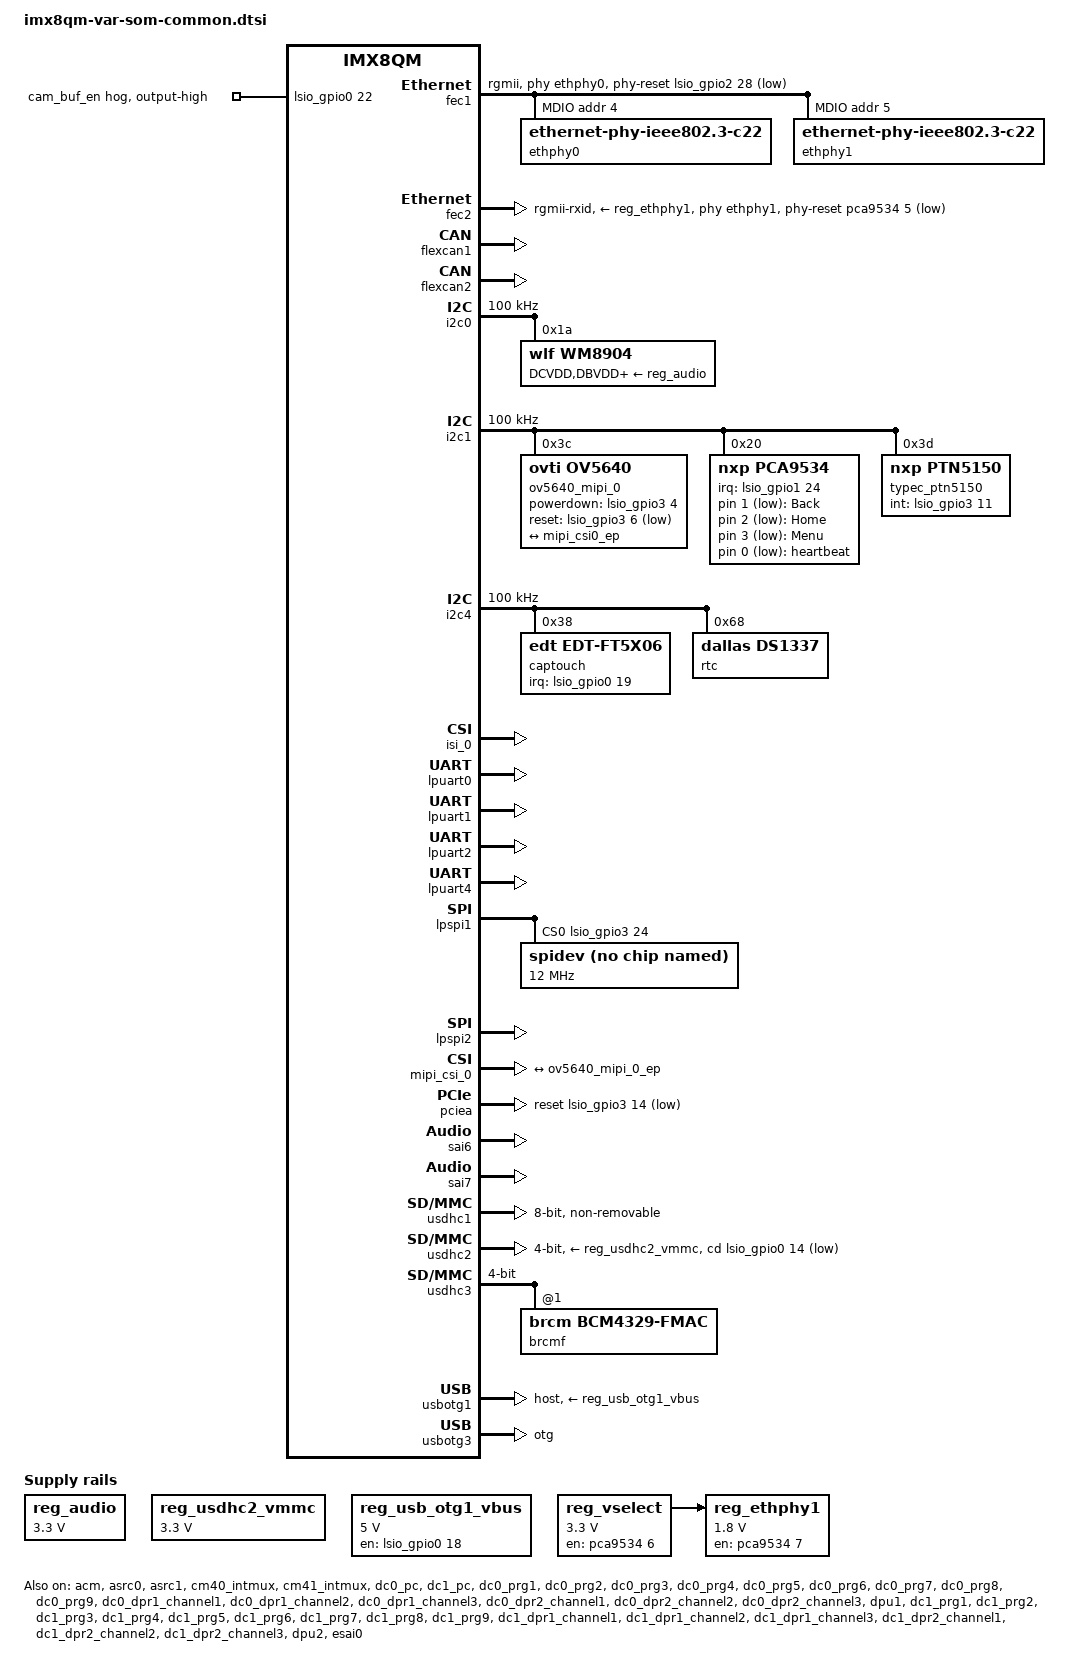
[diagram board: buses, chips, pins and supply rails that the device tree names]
/*
 * Copyright (C) 2016 Freescale Semiconductor, Inc.
 * Copyright 2017 NXP
 * Copyright 2019 Variscite Ltd.
 *
 * This program is free software; you can redistribute it and/or
 * modify it under the terms of the GNU General Public License
 * as published by the Free Software Foundation; either version 2
 * of the License, or (at your option) any later version.
 *
 * This program is distributed in the hope that it will be useful,
 * but WITHOUT ANY WARRANTY; without even the implied warranty of
 * MERCHANTABILITY or FITNESS FOR A PARTICULAR PURPOSE.  See the
 * GNU General Public License for more details.
 */

#include <dt-bindings/usb/pd.h>

/ {
	compatible = "fsl,imx8qm-var-som", "fsl,imx8qm";

	chosen {
		stdout-path = &lpuart0;
	};

	aliases {
		gpio0 = &lsio_gpio0;
		gpio1 = &lsio_gpio1;
		gpio2 = &lsio_gpio2;
		gpio3 = &lsio_gpio3;
		gpio4 = &lsio_gpio4;
		gpio5 = &lsio_gpio5;
		gpio6 = &lsio_gpio6;
		gpio7 = &lsio_gpio7;
		gpio8 = &pca9534;
		i2c0  = &i2c0;
		i2c1  = &i2c1;
		i2c2  = &i2c2;
		i2c3  = &i2c3;
		i2c4  = &i2c4;
	};

        gpio_keys {
                compatible = "gpio-keys";

                back {
			label = "Back";
			gpios = <&pca9534 1 GPIO_ACTIVE_LOW>;
			linux,code = <KEY_BACK>;
                };

		home {
			label = "Home";
			gpios = <&pca9534 2 GPIO_ACTIVE_LOW>;
			linux,code = <KEY_HOME>;
		};

                menu {
			label = "Menu";
			gpios = <&pca9534 3 GPIO_ACTIVE_LOW>;
			linux,code = <KEY_MENU>;
                };
        };

        leds {
                compatible = "gpio-leds";
                status = "okay";

		heartbeat {
			label = "heartbeat";
			gpios = <&pca9534 0 GPIO_ACTIVE_LOW>;
			linux,default-trigger = "heartbeat";
		};
	};

	regulators: regulators {
		compatible = "simple-bus";
		#address-cells = <1>;
		#size-cells = <0>;

		reg_audio: audio {
			compatible = "regulator-fixed";
			regulator-name = "wm8904_supply";
			regulator-min-microvolt = <3300000>;
			regulator-max-microvolt = <3300000>;
			regulator-always-on;
		};

		reg_ethphy1: regulator-ethphy1 {
			compatible = "regulator-fixed";
			vin-supply = <&reg_vselect>;
			regulator-name = "reg_ethphy1";
			regulator-min-microvolt = <1800000>;
			regulator-max-microvolt = <1800000>;
			gpio = <&pca9534 7 GPIO_ACTIVE_HIGH>;
			enable-active-high;
			regulator-always-on;
		};

		reg_usdhc2_vmmc: usdhc2_vmmc {
			compatible = "regulator-fixed";
			regulator-name = "sw-3p3-sd1";
			regulator-min-microvolt = <3300000>;
			regulator-max-microvolt = <3300000>;
			regulator-always-on;
		};

		reg_usb_otg1_vbus: usb_otg1_vbus {
			compatible = "regulator-fixed";
			regulator-name = "usb_otg1_vbus";
			regulator-min-microvolt = <5000000>;
			regulator-max-microvolt = <5000000>;
			gpio = <&lsio_gpio0 18 GPIO_ACTIVE_HIGH>;
			enable-active-high;
		};

		reg_vselect: regulator-vselect {
			compatible = "regulator-fixed";
			regulator-name = "reg_vselect";
			regulator-min-microvolt = <3300000>;
			regulator-max-microvolt = <3300000>;
			regulator-always-on;
			gpio = <&pca9534 6 GPIO_ACTIVE_HIGH>;
			enable-active-high;
		};
	};

	reserved-memory {
		#address-cells = <2>;
		#size-cells = <2>;
		ranges;

		decoder_boot: decoder_boot@0x84000000 {
			no-map;
			reg = <0 0x84000000 0 0x2000000>;
		};

		decoder_rpc: decoder_rpc@0x92000000 {
			no-map;
			reg = <0 0x92000000 0 0x200000>;
		};

		dsp_reserved: dsp@0x92400000 {
			no-map;
			reg = <0 0x92400000 0 0x2000000>;
		};

		encoder_boot: encoder_boot@0x86000000 {
			no-map;
			reg = <0 0x86000000 0 0x400000>;
		};

		encoder_reserved: encoder_reserved@0x94400000 {
			no-map;
			reg = <0 0x94400000 0 0x800000>;
		};

		encoder_rpc: encoder_rpc@0x92200000 {
			no-map;
			reg = <0 0x92200000 0 0x200000>;
		};

		/* global autoconfigured region for contiguous allocations */
		linux,cma {
			compatible = "shared-dma-pool";
			reusable;
			size = <0 0x3c000000>;
			alloc-ranges = <0 0x96000000 0 0x3c000000>;
			linux,cma-default;
		};

		ts_boot: ts_boot@0x95000000 {
			no-map;
			reg = <0 0x95000000 0 0x400000>;
		};
	};

	sound-wm8904 {
		compatible = "fsl,imx-audio-wm8904";
		model = "imx-wm8904";
		audio-codec = <&wm8904>;
		audio-cpu = <&esai0>;
		audio-routing =
			"Headphone Jack", "HPOUTL",
			"Headphone Jack", "HPOUTR",
			"IN2L", "Line In Jack",
			"IN2R", "Line In Jack",
			"IN1L", "Mic Jack",
			"Playback", "CPU-Playback",
			"CPU-Capture", "Capture";
		status = "okay";
	};
};

&acm {
	status = "okay";
};

&asrc0 {
	assigned-clock-rates = <786432000>, <49152000>, <24576000>;
	fsl,asrc-rate  = <48000>;
	status = "okay";
};

&asrc1 {
	assigned-clock-rates = <786432000>, <49152000>, <24576000>;
	fsl,asrc-rate = <48000>;
	status = "okay";
};

&cm40_intmux {
	status = "okay";
};

&cm41_intmux {
	status = "okay";
};

&dc0_pc {
	status = "okay";
};

&dc1_pc {
	status = "okay";
};

&dc0_prg1 {
	status = "okay";
};

&dc0_prg2 {
	status = "okay";
};

&dc0_prg3 {
	status = "okay";
};

&dc0_prg4 {
	status = "okay";
};

&dc0_prg5 {
	status = "okay";
};

&dc0_prg6 {
	status = "okay";
};

&dc0_prg7 {
	status = "okay";
};

&dc0_prg8 {
	status = "okay";
};

&dc0_prg9 {
	status = "okay";
};

&dc0_dpr1_channel1 {
	status = "okay";
};

&dc0_dpr1_channel2 {
	status = "okay";
};

&dc0_dpr1_channel3 {
	status = "okay";
};

&dc0_dpr2_channel1 {
	status = "okay";
};

&dc0_dpr2_channel2 {
	status = "okay";
};

&dc0_dpr2_channel3 {
	status = "okay";
};

&dpu1 {
	status = "okay";
};

&dc1_prg1 {
	status = "okay";
};

&dc1_prg2 {
	status = "okay";
};

&dc1_prg3 {
	status = "okay";
};

&dc1_prg4 {
	status = "okay";
};

&dc1_prg5 {
	status = "okay";
};

&dc1_prg6 {
	status = "okay";
};

&dc1_prg7 {
	status = "okay";
};

&dc1_prg8 {
	status = "okay";
};

&dc1_prg9 {
	status = "okay";
};

&dc1_dpr1_channel1 {
	status = "okay";
};

&dc1_dpr1_channel2 {
	status = "okay";
};

&dc1_dpr1_channel3 {
	status = "okay";
};

&dc1_dpr2_channel1 {
	status = "okay";
};

&dc1_dpr2_channel2 {
	status = "okay";
};

&dc1_dpr2_channel3 {
	status = "okay";
};


&dpu2 {
	status = "okay";
};

&esai0 {
	pinctrl-names = "default";
	pinctrl-0 = <&pinctrl_esai0>;
	assigned-clocks = <&acm IMX_ADMA_ACM_ESAI0_MCLK_SEL>,
			<&clk IMX_SC_R_AUDIO_PLL_0 IMX_SC_PM_CLK_PLL>,
			<&clk IMX_SC_R_AUDIO_PLL_0 IMX_SC_PM_CLK_SLV_BUS>,
			<&clk IMX_SC_R_AUDIO_PLL_0 IMX_SC_PM_CLK_MST_BUS>,
			<&esai0_lpcg 0>;
	assigned-clock-parents = <&aud_pll_div0_lpcg 0>;
	assigned-clock-rates = <0>, <786432000>, <49152000>, <24576000>, <49152000>;
	status = "okay";
};

&fec1 {
	pinctrl-names = "default";
	pinctrl-0 = <&pinctrl_fec1>;
	fsl,magic-packet;
	phy-reset-gpios = <&lsio_gpio2 28 GPIO_ACTIVE_LOW>;
	phy-reset-duration = <10>;
	phy-mode = "rgmii";
	phy-handle = <&ethphy0>;
	status = "okay";

	mdio:mdio {
		#address-cells = <1>;
		#size-cells = <0>;

		ethphy0: ethernet-phy@4 {
			compatible = "ethernet-phy-ieee802.3-c22";
			reg = <4>;
			at803x,eee-disabled;
			at803x,vddio-1p8v;
		};

		ethphy1: ethernet-phy@5 {
			compatible = "ethernet-phy-ieee802.3-c22";
			reg = <5>;
			at803x,eee-disabled;
			at803x,vddio-1p8v;
		};
	};
};

&fec2 {
	pinctrl-names = "default";
	pinctrl-0 = <&pinctrl_fec2>;
	phy-mode = "rgmii-rxid";
	phy-handle = <&ethphy1>;
	fsl,magic-packet;
	phy-supply = <&reg_ethphy1>;
	phy-reset-gpios = <&pca9534 5 GPIO_ACTIVE_LOW>;
	phy-reset-duration = <10>;
	status = "okay";
};

&flexcan1 {
	pinctrl-names = "default";
	pinctrl-0 = <&pinctrl_flexcan1>;
	status = "okay";
};

&flexcan2 {
	pinctrl-names = "default";
	pinctrl-0 = <&pinctrl_flexcan2>;
	status = "okay";
};

&flexspi0 {
	status = "disabled";
};

&gpu_3d0 {
	status = "okay";
};

&gpu_3d1 {
	status = "okay";
};

&i2c0 {
	#address-cells = <1>;
	#size-cells = <0>;
	pinctrl-names = "default";
	pinctrl-0 = <&pinctrl_i2c0>;
	clock-frequency = <100000>;
	status = "okay";

	wm8904: codec@1a {
		compatible = "wlf,wm8904";
		reg = <0x1a>;
		clocks = <&mclkout0_lpcg 0>;
		clock-names = "mclk";
		wlf,shared-lrclk;
		assigned-clocks = <&clk IMX_SC_R_AUDIO_PLL_0 IMX_SC_PM_CLK_PLL>,
				<&clk IMX_SC_R_AUDIO_PLL_0 IMX_SC_PM_CLK_SLV_BUS>,
				<&clk IMX_SC_R_AUDIO_PLL_0 IMX_SC_PM_CLK_MST_BUS>,
				<&mclkout0_lpcg 0>;
		assigned-clock-rates = <786432000>, <49152000>, <12288000>, <12288000>;

		DCVDD-supply = <&reg_audio>;
		DBVDD-supply = <&reg_audio>;
		AVDD-supply = <&reg_audio>;
		CPVDD-supply = <&reg_audio>;
		MICVDD-supply = <&reg_audio>;
		num-drc-cfgs = <5>;
		drc-cfg-names = "default", "peaklimiter", "tradition", "soft", "music";
		drc-cfg-regs =
				/* coded default: KNEE_IP = KNEE_OP = 0, HI_COMP = LO_COMP = 1  */
				<0x01af 0x3248 0x0000 0x0000>,
				/* coded default: KNEE_IP = -24, KNEE_OP = -6, HI_COMP = 1/4, LO_COMP = 1 */
				<0x04af 0x324b 0x0010 0x0408>,
				/* coded default: KNEE_IP = -42, KNEE_OP = -3, HI_COMP = 0, LO_COMP = 1 */
				<0x04af 0x324b 0x0028 0x0704>,
				/* coded default: KNEE_IP = -45, KNEE_OP = -9, HI_COMP = 1/8, LO_COMP = 1 */
				<0x04af 0x324b 0x0018 0x078c>,
				/* coded default: KNEE_IP = -30, KNEE_OP = -10.5, HI_COMP = 1/4, LO_COMP = 1 */
				<0x04af 0x324b 0x0010 0x050e>;
		gpio-cfg = <
			0x0018 /* GPIO1 => DMIC_CLK */
			0xffff /* GPIO2 => don't touch */
			0xffff /* GPIO3 => don't touch */
			0xffff /* GPIO4 => don't touch */
		>;
		status = "okay";
	};
};

&i2c1 {
	#address-cells = <1>;
	#size-cells = <0>;
	clock-frequency = <100000>;
	pinctrl-names = "default";
	pinctrl-0 = <&pinctrl_i2c1>;
	status = "okay";

	/* MIPI-CSI2 sensor */
	ov5640_mipi_0: ov5640_mipi@3c {
		compatible = "ovti,ov5640";
		reg = <0x3c>;
		pinctrl-names = "default";
		pinctrl-0 = <&pinctrl_mipicsi0>;
		clocks = <&xtal24m>;
		clock-names = "xclk";
		csi_id = <0>;
		powerdown-gpios = <&lsio_gpio3 4 GPIO_ACTIVE_HIGH>;
		reset-gpios = <&lsio_gpio3 6 GPIO_ACTIVE_LOW>;
		mclk = <24000000>;
		mclk_source = <0>;
		mipi_csi;
		status = "okay";
		port {
			ov5640_mipi_0_ep: endpoint {
				remote-endpoint = <&mipi_csi0_ep>;
				data-lanes = <1 2>;
				clocks-lanes = <0>;
			};
		};
	};

	/* GPIO Expander */
        pca9534: gpio@20 {
                compatible = "nxp,pca9534";
                reg = <0x20>;
                pinctrl-names = "default";
                pinctrl-0 = <&pinctrl_pca9534>;
                interrupt-parent = <&lsio_gpio1>;
                interrupts = <24 IRQ_TYPE_LEVEL_LOW>;
		gpio-controller;
		#gpio-cells = <2>;
		status ="okay";
        };

	/* USB Type-C Controller */
	typec_ptn5150: typec@3d {
		compatible = "nxp,ptn5150";
		pinctrl-names = "default";
		pinctrl-0 = <&pinctrl_ptn5150>;
		reg = <0x3d>;
		int-gpio = <&lsio_gpio3 11 GPIO_ACTIVE_HIGH>;
		status ="okay";
	};
};

&i2c4 {
	#address-cells = <1>;
	#size-cells = <0>;
	clock-frequency = <100000>;
	pinctrl-names = "default";
	pinctrl-0 = <&pinctrl_i2c4>;
	status = "okay";

	/* Capacitive touch */
	captouch: ft5x06_ts@38 {
		pinctrl-names = "default";
		pinctrl-0 = <&pinctrl_captouch>;
		compatible = "edt,edt-ft5x06";
		reg = <0x38>;
		interrupt-parent = <&lsio_gpio0>;
		interrupts = <19 IRQ_TYPE_EDGE_FALLING>;
		touchscreen-size-x = <800>;
		touchscreen-size-y = <480>;
		touchscreen-inverted-x;
		touchscreen-inverted-y;
		status = "okay";
	};

	/* DS1337 RTC module */
	rtc@68 {
		compatible = "dallas,ds1337";
		reg = <0x68>;
		status = "okay";
	};
};

&imx8_gpu_ss {
	status = "okay";
};

&iomuxc {
	pinctrl-names = "default";
	pinctrl-0 = <&pinctrl_hog>;

	imx8qm-var-som {
		pinctrl_hog: hoggrp {
			fsl,pins = <
				IMX8QM_ESAI1_FSR_LSIO_GPIO2_IO04			0x00000041
				IMX8QM_ESAI1_FST_LSIO_GPIO2_IO05			0x00000041
				IMX8QM_ESAI1_SCKR_LSIO_GPIO2_IO06			0x00000041
				IMX8QM_ESAI1_SCKT_LSIO_GPIO2_IO07			0x00000041
				IMX8QM_SPDIF0_EXT_CLK_LSIO_GPIO2_IO16			0x00000041
			>;
		};

		pinctrl_captouch: captouchgrp {
			fsl,pins = <
				IMX8QM_GPT1_COMPARE_LSIO_GPIO0_IO19			0x06000021
				/* Workaround for capacitive touch problem on Symphony board 1.1 */
				IMX8QM_GPT0_COMPARE_LSIO_GPIO0_IO16			0x06000021
			>;
		};

		pinctrl_esai0: esai0grp {
			fsl,pins = <
				IMX8QM_ESAI0_FSR_AUD_ESAI0_FSR				0xc6000040
				IMX8QM_ESAI0_FST_AUD_ESAI0_FST				0xc6000040
				IMX8QM_ESAI0_SCKR_AUD_ESAI0_SCKR			0xc6000040
				IMX8QM_ESAI0_SCKT_AUD_ESAI0_SCKT			0xc6000040
				IMX8QM_ESAI0_TX0_AUD_ESAI0_TX0				0xc6000040
				IMX8QM_ESAI0_TX5_RX0_AUD_ESAI0_TX5_RX0			0xc6000040
				IMX8QM_MCLK_OUT0_AUD_ESAI0_TX_HF_CLK			0xc600004c
			>;
		};

		pinctrl_flexcan1: flexcan0grp {
			fsl,pins = <
				IMX8QM_FLEXCAN0_TX_DMA_FLEXCAN0_TX			0x00000021
				IMX8QM_FLEXCAN0_RX_DMA_FLEXCAN0_RX			0x00000021
			>;
		};

		pinctrl_flexcan2: flexcan1grp {
			fsl,pins = <
				IMX8QM_FLEXCAN1_TX_DMA_FLEXCAN1_TX			0x00000021
				IMX8QM_FLEXCAN1_RX_DMA_FLEXCAN1_RX			0x00000021
			>;
		};

		pinctrl_fec1: fec1grp {
			fsl,pins = <
				IMX8QM_ENET0_MDC_CONN_ENET0_MDC				0x06000048
				IMX8QM_ENET0_MDIO_CONN_ENET0_MDIO				0x06000048
				IMX8QM_ENET0_RGMII_TX_CTL_CONN_ENET0_RGMII_TX_CTL		0x06000048
				IMX8QM_ENET0_RGMII_TXC_CONN_ENET0_RGMII_TXC		0x06000048
				IMX8QM_ENET0_RGMII_TXD0_CONN_ENET0_RGMII_TXD0		0x06000048
				IMX8QM_ENET0_RGMII_TXD1_CONN_ENET0_RGMII_TXD1		0x06000048
				IMX8QM_ENET0_RGMII_TXD2_CONN_ENET0_RGMII_TXD2		0x06000048
				IMX8QM_ENET0_RGMII_TXD3_CONN_ENET0_RGMII_TXD3		0x06000048
				IMX8QM_ENET0_RGMII_RXC_CONN_ENET0_RGMII_RXC		0x06000048
				IMX8QM_ENET0_RGMII_RX_CTL_CONN_ENET0_RGMII_RX_CTL		0x06000048
				IMX8QM_ENET0_RGMII_RXD0_CONN_ENET0_RGMII_RXD0		0x06000048
				IMX8QM_ENET0_RGMII_RXD1_CONN_ENET0_RGMII_RXD1		0x06000048
				IMX8QM_ENET0_RGMII_RXD2_CONN_ENET0_RGMII_RXD2		0x06000048
				IMX8QM_ENET0_RGMII_RXD3_CONN_ENET0_RGMII_RXD3		0x06000048
				IMX8QM_ESAI0_TX2_RX3_LSIO_GPIO2_IO28			0x06000048
				IMX8QM_ESAI0_TX4_RX1_LSIO_GPIO2_IO30			0x06000048
			>;
		};

		pinctrl_fec2: fec2grp {
			fsl,pins = <
				IMX8QM_ENET1_RGMII_TX_CTL_CONN_ENET1_RGMII_TX_CTL		0x06000048
				IMX8QM_ENET1_RGMII_TXC_CONN_ENET1_RGMII_TXC		0x06000048
				IMX8QM_ENET1_RGMII_TXD0_CONN_ENET1_RGMII_TXD0		0x06000048
				IMX8QM_ENET1_RGMII_TXD1_CONN_ENET1_RGMII_TXD1		0x06000048
				IMX8QM_ENET1_RGMII_TXD2_CONN_ENET1_RGMII_TXD2		0x06000048
				IMX8QM_ENET1_RGMII_TXD3_CONN_ENET1_RGMII_TXD3		0x06000048
				IMX8QM_ENET1_RGMII_RXC_CONN_ENET1_RGMII_RXC		0x06000048
				IMX8QM_ENET1_RGMII_RX_CTL_CONN_ENET1_RGMII_RX_CTL		0x06000048
				IMX8QM_ENET1_RGMII_RXD0_CONN_ENET1_RGMII_RXD0		0x06000048
				IMX8QM_ENET1_RGMII_RXD1_CONN_ENET1_RGMII_RXD1		0x06000048
				IMX8QM_ENET1_RGMII_RXD2_CONN_ENET1_RGMII_RXD2		0x06000048
				IMX8QM_ENET1_RGMII_RXD3_CONN_ENET1_RGMII_RXD3		0x06000048
			>;
		};

		pinctrl_hdmi_i2c: hdmii2cgrp  {
			fsl,pins = <
				IMX8QM_MIPI_DSI1_GPIO0_00_LSIO_GPIO1_IO22			0x00000041
			>;
		};

		pinctrl_i2c0: i2c0grp {
			fsl,pins = <
				IMX8QM_HDMI_TX0_TS_SCL_DMA_I2C0_SCL			0xc6000020
				IMX8QM_HDMI_TX0_TS_SDA_DMA_I2C0_SDA			0xc6000020
			>;
		};

		pinctrl_i2c1: i2c1grp {
			fsl,pins = <
				IMX8QM_USB_SS3_TC3_DMA_I2C1_SDA				0xc6000020
				IMX8QM_USB_SS3_TC1_DMA_I2C1_SCL				0xc6000020
			>;
		};

		pinctrl_i2c4: i2c4grp {
			fsl,pins = <
				IMX8QM_ENET1_MDC_DMA_I2C4_SCL				0xc6000020
				IMX8QM_ENET1_MDIO_DMA_I2C4_SDA				0xc6000020
			>;
		};

		pinctrl_lpuart0: lpuart0grp {
			fsl,pins = <
				IMX8QM_UART0_RX_DMA_UART0_RX				0x06000020
				IMX8QM_UART0_TX_DMA_UART0_TX				0x06000020
			>;
		};

		pinctrl_lpuart1: lpuart1grp {
			fsl,pins = <
				IMX8QM_UART1_RX_DMA_UART1_RX				0x06000020
				IMX8QM_UART1_TX_DMA_UART1_TX				0x06000020
				IMX8QM_UART1_CTS_B_DMA_UART1_RTS_B			0x06000020
				IMX8QM_UART1_RTS_B_DMA_UART1_CTS_B			0x06000020
			>;
		};

		pinctrl_lpuart2: lpuart2grp {
			fsl,pins = <
				IMX8QM_LVDS0_I2C1_SCL_DMA_UART2_TX			0x06000020
				IMX8QM_LVDS0_I2C1_SDA_DMA_UART2_RX			0x06000020
			>;
		};

		pinctrl_lpuart4: lpuart4grp {
			fsl,pins = <
				IMX8QM_M40_GPIO0_01_DMA_UART4_TX				0x06000020
				IMX8QM_M40_GPIO0_00_DMA_UART4_RX				0x06000020
			>;
		};

		pinctrl_mipicsi0: mipicsi0grp {
			fsl,pins = <
				IMX8QM_UART0_RTS_B_LSIO_GPIO0_IO22			0x00000021 /* CAM_BUF_EN */
				IMX8QM_SPI0_CS1_LSIO_GPIO3_IO06				0x00000021 /* CAM_RST */
				IMX8QM_SPI0_SDI_LSIO_GPIO3_IO04				0x00000021 /* CAM_PWR */
			>;
		};

		pinctrl_lpspi1: lpspi1grp {
			fsl,pins = <
				IMX8QM_ADC_IN3_DMA_SPI1_SCK				0x0600004c
				IMX8QM_ADC_IN4_DMA_SPI1_SDO				0x0600004c
				IMX8QM_ADC_IN5_DMA_SPI1_SDI				0x0600004c
			>;
		};

		pinctrl_lpspi1_cs: lpspi1csgrp {
			fsl,pins = <
				IMX8QM_ADC_IN6_LSIO_GPIO3_IO24				0x00000021
			>;
		};

		pinctrl_lpspi2: lpspi2grp {
			fsl,pins = <
				IMX8QM_SPI2_SCK_DMA_SPI2_SCK		                0x0600004c
				IMX8QM_SPI2_SDO_DMA_SPI2_SDO				0x0600004c
				IMX8QM_SPI2_SDI_DMA_SPI2_SDI				0x0600004c
			>;
		};

		pinctrl_lpspi2_cs: lpspi2cs {
			fsl,pins = <
				IMX8QM_SPI2_CS0_LSIO_GPIO3_IO10				0x00000021
			>;
		};

		pinctrl_mlb: mlbgrp {
			fsl,pins = <
				IMX8QM_MLB_SIG_CONN_MLB_SIG				0x00000021
				IMX8QM_MLB_CLK_CONN_MLB_CLK				0x00000021
				IMX8QM_MLB_DATA_CONN_MLB_DATA				0x00000021
			>;
		};

		pinctrl_pca9534: pca9534grp {
			fsl,pins = <
				IMX8QM_MIPI_CSI0_MCLK_OUT_LSIO_GPIO1_IO24			0x00000021
			>;
		};

		pinctrl_pciea: pcieagrp {
			fsl,pins = <
				IMX8QM_SAI1_RXFS_LSIO_GPIO3_IO14				0x00000021
			>;
		};

		pinctrl_ptn5150: ptn5150grp {
			fsl,pins = <
				IMX8QM_SPI2_CS1_LSIO_GPIO3_IO11				0x00000021
			>;
		};

		pinctrl_pwm_lvds0: lvds0pwm0grp {
			fsl,pins = <
				IMX8QM_LVDS0_GPIO00_LVDS0_PWM0_OUT			0x00000020
			>;
		};

		pinctrl_restouch: restouchgrp {
			fsl,pins = <
				IMX8QM_ESAI1_TX5_RX0_LSIO_GPIO2_IO13			0x06000020
			>;
		};

		pinctrl_usbotg1: otg1grp {
			fsl,pins = <
				IMX8QM_GPT1_CAPTURE_LSIO_GPIO0_IO18			0x06000048
			>;
		};


		pinctrl_usdhc1: usdhc1grp {
			fsl,pins = <
				IMX8QM_EMMC0_CLK_CONN_EMMC0_CLK				0x06000041
				IMX8QM_EMMC0_CMD_CONN_EMMC0_CMD				0x00000021
				IMX8QM_EMMC0_DATA0_CONN_EMMC0_DATA0			0x00000021
				IMX8QM_EMMC0_DATA1_CONN_EMMC0_DATA1			0x00000021
				IMX8QM_EMMC0_DATA2_CONN_EMMC0_DATA2			0x00000021
				IMX8QM_EMMC0_DATA3_CONN_EMMC0_DATA3			0x00000021
				IMX8QM_EMMC0_DATA4_CONN_EMMC0_DATA4			0x00000021
				IMX8QM_EMMC0_DATA5_CONN_EMMC0_DATA5			0x00000021
				IMX8QM_EMMC0_DATA6_CONN_EMMC0_DATA6			0x00000021
				IMX8QM_EMMC0_DATA7_CONN_EMMC0_DATA7			0x00000021
				IMX8QM_EMMC0_STROBE_CONN_EMMC0_STROBE			0x06000041
				IMX8QM_EMMC0_RESET_B_CONN_EMMC0_RESET_B			0x00000021
			>;
		};

		pinctrl_usdhc1_100mhz: usdhc1grp100mhz {
			fsl,pins = <
				IMX8QM_EMMC0_CLK_CONN_EMMC0_CLK				0x06000040
				IMX8QM_EMMC0_CMD_CONN_EMMC0_CMD				0x00000020
				IMX8QM_EMMC0_DATA0_CONN_EMMC0_DATA0			0x00000020
				IMX8QM_EMMC0_DATA1_CONN_EMMC0_DATA1			0x00000020
				IMX8QM_EMMC0_DATA2_CONN_EMMC0_DATA2			0x00000020
				IMX8QM_EMMC0_DATA3_CONN_EMMC0_DATA3			0x00000020
				IMX8QM_EMMC0_DATA4_CONN_EMMC0_DATA4			0x00000020
				IMX8QM_EMMC0_DATA5_CONN_EMMC0_DATA5			0x00000020
				IMX8QM_EMMC0_DATA6_CONN_EMMC0_DATA6			0x00000020
				IMX8QM_EMMC0_DATA7_CONN_EMMC0_DATA7			0x00000020
				IMX8QM_EMMC0_STROBE_CONN_EMMC0_STROBE			0x06000040
				IMX8QM_EMMC0_RESET_B_CONN_EMMC0_RESET_B			0x00000020
			>;
		};

		pinctrl_usdhc1_200mhz: usdhc1grp200mhz {
			fsl,pins = <
				IMX8QM_EMMC0_CLK_CONN_EMMC0_CLK				0x06000040
				IMX8QM_EMMC0_CMD_CONN_EMMC0_CMD				0x00000020
				IMX8QM_EMMC0_DATA0_CONN_EMMC0_DATA0			0x00000020
				IMX8QM_EMMC0_DATA1_CONN_EMMC0_DATA1			0x00000020
				IMX8QM_EMMC0_DATA2_CONN_EMMC0_DATA2			0x00000020
				IMX8QM_EMMC0_DATA3_CONN_EMMC0_DATA3			0x00000020
				IMX8QM_EMMC0_DATA4_CONN_EMMC0_DATA4			0x00000020
				IMX8QM_EMMC0_DATA5_CONN_EMMC0_DATA5			0x00000020
				IMX8QM_EMMC0_DATA6_CONN_EMMC0_DATA6			0x00000020
				IMX8QM_EMMC0_DATA7_CONN_EMMC0_DATA7			0x00000020
				IMX8QM_EMMC0_STROBE_CONN_EMMC0_STROBE			0x06000040
				IMX8QM_EMMC0_RESET_B_CONN_EMMC0_RESET_B			0x00000020
			>;
		};

		pinctrl_usdhc2_gpio: usdhc2grpgpio {
			fsl,pins = <
				IMX8QM_GPT0_CLK_LSIO_GPIO0_IO14				0x00000021
			>;
		};

		pinctrl_usdhc2: usdhc2grp {
			fsl,pins = <
				IMX8QM_USDHC1_CLK_CONN_USDHC1_CLK				0x06000041
				IMX8QM_USDHC1_CMD_CONN_USDHC1_CMD				0x00000021
				IMX8QM_USDHC1_DATA0_CONN_USDHC1_DATA0			0x00000021
				IMX8QM_USDHC1_DATA1_CONN_USDHC1_DATA1			0x00000021
				IMX8QM_USDHC1_DATA2_CONN_USDHC1_DATA2			0x00000021
				IMX8QM_USDHC1_DATA3_CONN_USDHC1_DATA3			0x00000021
				IMX8QM_USDHC1_VSELECT_CONN_USDHC1_VSELECT			0x00000021
			>;
		};

		pinctrl_usdhc2_100mhz: usdhc2grp100mhz {
			fsl,pins = <
				IMX8QM_USDHC1_CLK_CONN_USDHC1_CLK				0x06000040
				IMX8QM_USDHC1_CMD_CONN_USDHC1_CMD				0x00000020
				IMX8QM_USDHC1_DATA0_CONN_USDHC1_DATA0			0x00000020
				IMX8QM_USDHC1_DATA1_CONN_USDHC1_DATA1			0x00000020
				IMX8QM_USDHC1_DATA2_CONN_USDHC1_DATA2			0x00000020
				IMX8QM_USDHC1_DATA3_CONN_USDHC1_DATA3			0x00000020
				IMX8QM_USDHC1_VSELECT_CONN_USDHC1_VSELECT			0x00000020
			>;
		};

		pinctrl_usdhc2_200mhz: usdhc2grp200mhz {
			fsl,pins = <
				IMX8QM_USDHC1_CLK_CONN_USDHC1_CLK				0x06000040
				IMX8QM_USDHC1_CMD_CONN_USDHC1_CMD				0x00000020
				IMX8QM_USDHC1_DATA0_CONN_USDHC1_DATA0			0x00000020
				IMX8QM_USDHC1_DATA1_CONN_USDHC1_DATA1			0x00000020
				IMX8QM_USDHC1_DATA2_CONN_USDHC1_DATA2			0x00000020
				IMX8QM_USDHC1_DATA3_CONN_USDHC1_DATA3			0x00000020
				IMX8QM_USDHC1_VSELECT_CONN_USDHC1_VSELECT			0x00000020
			>;
		};

		pinctrl_usdhc3: usdhc3grp {
			fsl,pins = <
				IMX8QM_USDHC2_CLK_CONN_USDHC2_CLK				0x06000041
				IMX8QM_USDHC2_CMD_CONN_USDHC2_CMD				0x00000021
				IMX8QM_USDHC2_DATA0_CONN_USDHC2_DATA0			0x00000021
				IMX8QM_USDHC2_DATA1_CONN_USDHC2_DATA1			0x00000021
				IMX8QM_USDHC2_DATA2_CONN_USDHC2_DATA2			0x00000021
				IMX8QM_USDHC2_DATA3_CONN_USDHC2_DATA3			0x00000021
			>;
		};

		pinctrl_usdhc3_100mhz: usdhc3grp100mhz {
			fsl,pins = <
				IMX8QM_USDHC2_CLK_CONN_USDHC2_CLK				0x06000040
				IMX8QM_USDHC2_CMD_CONN_USDHC2_CMD				0x00000020
				IMX8QM_USDHC2_DATA0_CONN_USDHC2_DATA0			0x00000020
				IMX8QM_USDHC2_DATA1_CONN_USDHC2_DATA1			0x00000020
				IMX8QM_USDHC2_DATA2_CONN_USDHC2_DATA2			0x00000020
				IMX8QM_USDHC2_DATA3_CONN_USDHC2_DATA3			0x00000020
			>;
		};

		pinctrl_usdhc3_200mhz: usdhc3grp200mhz {
			fsl,pins = <
				IMX8QM_USDHC2_CLK_CONN_USDHC2_CLK				0x06000040
				IMX8QM_USDHC2_CMD_CONN_USDHC2_CMD				0x00000020
				IMX8QM_USDHC2_DATA0_CONN_USDHC2_DATA0			0x00000020
				IMX8QM_USDHC2_DATA1_CONN_USDHC2_DATA1			0x00000020
				IMX8QM_USDHC2_DATA2_CONN_USDHC2_DATA2			0x00000020
				IMX8QM_USDHC2_DATA3_CONN_USDHC2_DATA3			0x00000020
			>;
		};

		pinctrl_wifi: wifigrp {
			fsl,pins = <
				IMX8QM_SCU_GPIO0_07_SCU_DSC_RTC_CLOCK_OUTPUT_32K	0xc600004c /* WIFI_32K_CLK */
				IMX8QM_SCU_GPIO0_03_LSIO_GPIO0_IO31			0x06000021 /* WIFI_REG_ON  */
				IMX8QM_SCU_GPIO0_02_LSIO_GPIO0_IO30			0x00000021 /* BT_REG_ON    */
				IMX8QM_QSPI1A_DATA0_LSIO_GPIO4_IO26			0x00000021 /* BT_BUF       */
			>;
		};
	};
};

&isi_0 {
	status = "okay";

	cap_device {
		status = "okay";
	};

	m2m_device {
		status = "okay";
	};
};

&isi_1 {
	status = "disabled";
};

&isi_2 {
	status = "disabled";
};

&isi_3 {
	status = "disabled";
};

&isi_4 {
	status = "disabled";
};

&isi_5 {
	status = "disabled";
};

&isi_6 {
	status = "disabled";
};

&isi_7 {
	status = "disabled";
};

&jpegdec {
       status = "okay";
};

&jpegenc {
       status = "okay";
};

&lpuart0 { /* console */
	pinctrl-names = "default";
	pinctrl-0 = <&pinctrl_lpuart0>;
	status = "okay";
};

&lpuart1 { /* BT */
	pinctrl-names = "default";
	pinctrl-0 = <&pinctrl_lpuart1>;
	uart-has-rtscts;
	status = "okay";
};

&lpuart2 { /* header */
	pinctrl-names = "default";
	pinctrl-0 = <&pinctrl_lpuart2>;
	status = "okay";
};

&lpuart3 {
	status = "disabled";
};

&lpuart4 { /* header */
	pinctrl-names = "default";
	pinctrl-0 = <&pinctrl_lpuart4>;
	status = "okay";
};

&lpspi1 {
	#address-cells = <1>;
	#size-cells = <0>;
	fsl,spi-num-chipselects = <1>;
	pinctrl-names = "default";
	pinctrl-0 = <&pinctrl_lpspi1 &pinctrl_lpspi1_cs>;
	cs-gpios = <&lsio_gpio3 24 0>;
	status = "okay";

        spidev@0 {
		compatible = "var,spidev";
		spi-max-frequency = <12000000>;
		reg = <0>;
		status = "okay";
        };
};

&lpspi2 {
	#address-cells = <1>;
	#size-cells = <0>;
	fsl,spi-num-chipselects = <1>;
	pinctrl-names = "default";
	pinctrl-0 = <&pinctrl_lpspi2 &pinctrl_lpspi2_cs>;
	cs-gpios = <&lsio_gpio3 10 0>;
	status = "okay";

	/* Touch */
	ads7846@0 {
		reg = <0>;
		compatible = "ti,ads7846";
		pinctrl-names = "default";
		pinctrl-0 = <&pinctrl_restouch>;
		interrupt-parent = <&lsio_gpio2>;
		interrupts = <13 0>;
		spi-max-frequency = <1500000>;
		pendown-gpio = <&lsio_gpio2 13 0>;
		ti,x-min = /bits/ 16 <125>;
		ti,x-max = /bits/ 16 <4008>;
		ti,y-min = /bits/ 16 <282>;
		ti,y-max = /bits/ 16 <3864>;
		ti,x-plate-ohms = /bits/ 16 <180>;
		ti,pressure-max = /bits/ 16 <255>;
		ti,debounce-max = /bits/ 16 <10>;
		ti,debounce-tol = /bits/ 16 <3>;
		ti,debounce-rep = /bits/ 16 <1>;
		ti,settle-delay-usec = /bits/ 16 <150>;
		ti,keep-vref-on;
		status = "disabled";
	};
};

&lsio_gpio0 {
	/* Enable wakeup-source from Capacitive touch */

	pad-wakeup-num = <1>;	/* Total number of wakeup pads in gpio0 bank */

	/*
	 IMX8QM_GPT1_COMPARE:   Touch IRQ pin id
	 SC_PAD_WAKEUP_LOW_LVL: trigger type
	 19:                    Touch IRQ gpio pin
	*/
	pad-wakeup = <IMX8QM_GPT1_COMPARE SC_PAD_WAKEUP_LOW_LVL 19>;

	cam_buf_hog {
		gpio-hog;
		gpios = <22 0>;
		output-high;
		line-name = "cam_buf_en";
	};
};

&lsio_gpio1 {
	/* Enable wakeup-source from all pca9534 gpio-keys*/

	pad-wakeup-num = <1>;	/* Total number of wakeup pads in gpio1 bank */

	/*
	 IMX8QM_MIPI_CSI0_MCLK_OUT: PCA9534 IRQ pin id
	 SC_PAD_WAKEUP_LOW_LVL:     trigger type
	 24:                        PCA9534 IRQ gpio pin
	*/
	pad-wakeup = <IMX8QM_MIPI_CSI0_MCLK_OUT SC_PAD_WAKEUP_LOW_LVL 24>;
};

&mipi_csi_0 {
	#address-cells = <1>;
	#size-cells = <0>;
	status = "okay";

	/* Camera 0  MIPI CSI-2 (CSIS0) */
	port@0 {
		reg = <0>;
		mipi_csi0_ep: endpoint {
			remote-endpoint = <&ov5640_mipi_0_ep>;
			data-lanes = <1 2>;
		};
	};
};

&mipi_csi_1 {
	status = "disabled";
};

&mlb {
        pinctrl-names = "default";
        pinctrl-0 = <&pinctrl_mlb>;
	status = "disabled";
};

&mu_m0{
	interrupts = <GIC_SPI 472 IRQ_TYPE_LEVEL_HIGH>;
};

&mu1_m0{
	interrupts = <GIC_SPI 473 IRQ_TYPE_LEVEL_HIGH>;
};

&mu2_m0{
	interrupts = <GIC_SPI 474 IRQ_TYPE_LEVEL_HIGH>;
	status = "okay";
};

&mu3_m0{
	interrupts = <GIC_SPI 475 IRQ_TYPE_LEVEL_HIGH>;
	status = "okay";
};

&pciea{
	ext_osc = <1>;
	pinctrl-names = "default";
	pinctrl-0 = <&pinctrl_pciea>;
	reset-gpio = <&lsio_gpio3 14 GPIO_ACTIVE_LOW>;
	status = "okay";
};

&pcieb{
	status = "disabled";
};

&pca9534 {
        usb3_signal_route {
                gpio-hog;
                gpios = <4 GPIO_ACTIVE_HIGH>;
                output-low;
                line-name = "usb3_signal_route";
        };
};

&pwm_lvds0 {
        pinctrl-names = "default";
        pinctrl-0 = <&pinctrl_pwm_lvds0>;
        status = "okay";
};

&rtc {
	status = "disabled";
};

&sai6 {
	assigned-clocks = <&acm IMX_ADMA_ACM_SAI6_MCLK_SEL>,
			<&clk IMX_SC_R_AUDIO_PLL_1 IMX_SC_PM_CLK_PLL>,
			<&clk IMX_SC_R_AUDIO_PLL_1 IMX_SC_PM_CLK_SLV_BUS>,
			<&clk IMX_SC_R_AUDIO_PLL_1 IMX_SC_PM_CLK_MST_BUS>,
			<&sai6_lpcg 0>;
	assigned-clock-parents = <&aud_pll_div1_lpcg 0>;
	assigned-clock-rates = <0>, <786432000>, <98304000>, <24576000>, <98304000>;
	fsl,sai-asynchronous;
	fsl,txm-rxs;
	status = "okay";
};

&sai7 {
	assigned-clocks = <&acm IMX_ADMA_ACM_SAI7_MCLK_SEL>,
			<&clk IMX_SC_R_AUDIO_PLL_1 IMX_SC_PM_CLK_PLL>,
			<&clk IMX_SC_R_AUDIO_PLL_1 IMX_SC_PM_CLK_SLV_BUS>,
			<&clk IMX_SC_R_AUDIO_PLL_1 IMX_SC_PM_CLK_MST_BUS>,
			<&sai7_lpcg 0>;
	assigned-clock-parents = <&aud_pll_div1_lpcg 0>;
	assigned-clock-rates = <0>, <786432000>, <98304000>, <24576000>, <98304000>;
	fsl,sai-asynchronous;
	fsl,txm-rxs;
	status = "okay";
};

&thermal_zones {
	pmic-thermal0 {
		polling-delay-passive = <250>;
		polling-delay = <2000>;
		thermal-sensors = <&tsens IMX_SC_R_PMIC_0>;
		trips {
			pmic_alert0: trip0 {
				temperature = <110000>;
				hysteresis = <2000>;
				type = "passive";
			};
			pmic_crit0: trip1 {
				temperature = <125000>;
				hysteresis = <2000>;
				type = "critical";
			};
		};
		cooling-maps {
			map0 {
				trip = <&pmic_alert0>;
				cooling-device =
				<&A53_0 THERMAL_NO_LIMIT THERMAL_NO_LIMIT>,
				<&A53_1 THERMAL_NO_LIMIT THERMAL_NO_LIMIT>,
				<&A53_2 THERMAL_NO_LIMIT THERMAL_NO_LIMIT>,
				<&A53_3 THERMAL_NO_LIMIT THERMAL_NO_LIMIT>,
				<&A72_0 THERMAL_NO_LIMIT THERMAL_NO_LIMIT>,
				<&A72_1 THERMAL_NO_LIMIT THERMAL_NO_LIMIT>;
			};
		};
	};
};

&usdhc1 {
	pinctrl-names = "default", "state_100mhz", "state_200mhz";
	pinctrl-0 = <&pinctrl_usdhc1>;
	pinctrl-1 = <&pinctrl_usdhc1_100mhz>;
	pinctrl-2 = <&pinctrl_usdhc1_200mhz>;
	bus-width = <8>;
	non-removable;
	status = "okay";
};

&usdhc2 {
	pinctrl-names = "default", "state_100mhz", "state_200mhz";
	pinctrl-0 = <&pinctrl_usdhc2>, <&pinctrl_usdhc2_gpio>;
	pinctrl-1 = <&pinctrl_usdhc2_100mhz>, <&pinctrl_usdhc2_gpio>;
	pinctrl-2 = <&pinctrl_usdhc2_200mhz>, <&pinctrl_usdhc2_gpio>;
	bus-width = <4>;
	cd-gpios = <&lsio_gpio0 14 GPIO_ACTIVE_LOW>;
	vmmc-supply = <&reg_usdhc2_vmmc>;
	status = "okay";
};

&usdhc3 {
	#address-cells = <1>;
	#size-cells = <0>;
	pinctrl-names = "default", "state_100mhz", "state_200mhz";
	pinctrl-0 = <&pinctrl_usdhc3>, <&pinctrl_wifi>;
	pinctrl-1 = <&pinctrl_usdhc3_100mhz>, <&pinctrl_wifi>;
	pinctrl-2 = <&pinctrl_usdhc3_200mhz>, <&pinctrl_wifi>;
	bus-width = <4>;
	status = "okay";

	brcmf: bcrmf@1 {
		reg = <1>;
		compatible = "brcm,bcm4329-fmac";
	};
};

&usbphy1 {
	status = "okay";
};

&usbotg1 {
	pinctrl-names = "default";
	pinctrl-0 = <&pinctrl_usbotg1>;
	vbus-supply = <&reg_usb_otg1_vbus>;
	srp-disable;
	hnp-disable;
	adp-disable;
	disable-over-current;
	dr_mode = "host";
	status = "okay";
};

&usb3phynop1 {
	status = "okay";
};

&usbotg3 {
	dr_mode = "otg";
	extcon = <&typec_ptn5150>;
	status = "okay";
};

&vpu_decoder {
	compatible = "nxp,imx8qm-b0-vpudec";
	boot-region = <&decoder_boot>;
	rpc-region = <&decoder_rpc>;
	reg-csr = <0x2d080000>;
	core_type = <2>;
	status = "okay";
};

&vpu_encoder {
	compatible = "nxp,imx8qm-b0-vpuenc";
	boot-region = <&encoder_boot>;
	rpc-region = <&encoder_rpc>;
	reserved-region = <&encoder_reserved>;
	reg-rpc-system = <0x40000000>;
	resolution-max = <1920 1920>;
	power-domains = <&pd IMX_SC_R_VPU_ENC_0>, <&pd IMX_SC_R_VPU_ENC_1>,
			<&pd IMX_SC_R_VPU>;
	power-domain-names = "vpuenc1", "vpuenc2", "vpu";
	mbox-names = "enc1_tx0", "enc1_tx1", "enc1_rx",
		     "enc2_tx0", "enc2_tx1", "enc2_rx";
	mboxes = <&mu1_m0 0 0
		  &mu1_m0 0 1
		  &mu1_m0 1 0
		  &mu2_m0 0 0
		  &mu2_m0 0 1
		  &mu2_m0 1 0>;
	status = "okay";

	vpu_enc_core0: core0@1020000 {
		compatible = "fsl,imx8-mu1-vpu-m0";
		reg = <0x1020000 0x20000>;
		reg-csr = <0x1090000 0x10000>;
		interrupts = <GIC_SPI 473 IRQ_TYPE_LEVEL_HIGH>;
		fsl,vpu_ap_mu_id = <17>;
		fw-buf-size = <0x200000>;
		rpc-buf-size = <0x80000>;
		print-buf-size = <0x80000>;
	};

	vpu_enc_core1: core1@1040000 {
		compatible = "fsl,imx8-mu2-vpu-m0";
		reg = <0x1040000 0x20000>;
		reg-csr = <0x10A0000 0x10000>;
		interrupts = <GIC_SPI 474 IRQ_TYPE_LEVEL_HIGH>;
		fsl,vpu_ap_mu_id = <18>;
		fw-buf-size = <0x200000>;
		rpc-buf-size = <0x80000>;
		print-buf-size = <0x80000>;
	};
};

&vpu_ts {
	compatible = "nxp,imx8qm-b0-vpu-ts";
	boot-region = <&ts_boot>;
	reg-csr = <0x2d0b0000>;
	status = "okay";
};
